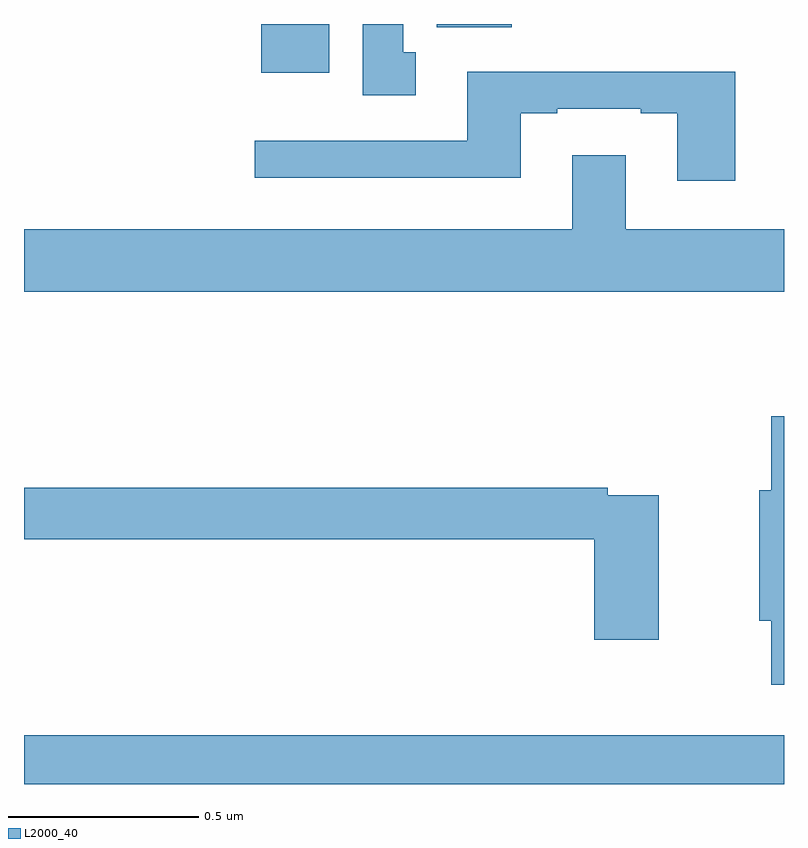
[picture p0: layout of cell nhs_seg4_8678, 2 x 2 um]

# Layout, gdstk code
import gdstk
lib = gdstk.Library(unit=1e-6, precision=1e-09)
def R(c, l, rs):  # rectangles x0, y0, x1, y1
    for r in rs: c.add(gdstk.rectangle(r[:2], r[2:], *l))
def P(c, l, *ps):  # polygons
    for p in ps: c.add(gdstk.Polygon(p, *l))
L2000_40 = (2000, 40)

nhs_seg4_8678 = lib.new_cell('nhs_seg4_8678')
R(nhs_seg4_8678, L2000_40, [(218,752.9,220,753.028), (218.624,754.772,218.803,754.9), (219.086,754.892,219.283,754.9)])
P(nhs_seg4_8678, L2000_40, [(219.031,754.826),(218.998,754.826),(218.998,754.9),(218.891,754.9),(218.891,754.713),(219.031,754.713)],
  [(219.872,754.774),(219.167,754.774),(219.167,754.593),(218.607,754.593),(218.607,754.496),(219.307,754.496),(219.307,754.665),(219.403,754.665),(219.403,754.677),(219.623,754.677),(219.623,754.665),(219.719,754.665),(219.719,754.488),(219.872,754.488)],
  [(220,754.36),(219.583,754.36),(219.583,754.555),(219.443,754.555),(219.443,754.36),(218,754.36),(218,754.196),(220,754.196)],
  [(220,753.868),(219.967,753.868),(219.967,753.673),(219.935,753.673),(219.935,753.329),(219.967,753.329),(219.967,753.161),(220,753.161)],
  [(219.67,753.66),(219.536,753.66),(219.536,753.68),(218,753.68),(218,753.544),(219.5,753.544),(219.5,753.279),(219.67,753.279)])

lib.write_gds('nhs_seg4_8678.gds')
